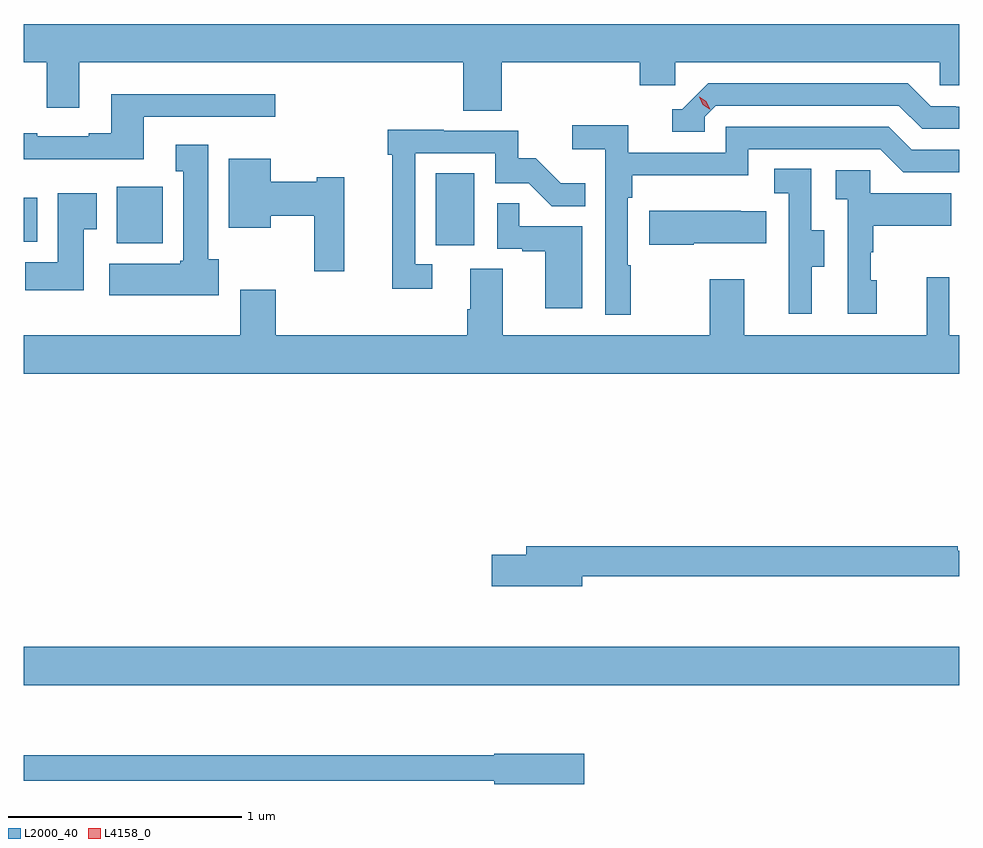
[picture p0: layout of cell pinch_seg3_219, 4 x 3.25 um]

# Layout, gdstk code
import gdstk
lib = gdstk.Library(unit=1e-6, precision=1e-09)
def R(c, l, rs):  # rectangles x0, y0, x1, y1
    for r in rs: c.add(gdstk.rectangle(r[:2], r[2:], *l))
def P(c, l, *ps):  # polygons
    for p in ps: c.add(gdstk.Polygon(p, *l))
L2000_40 = (2000, 40)
L4158_0 = (4158, 0)

pinch_seg3_219 = lib.new_cell('pinch_seg3_219')
R(pinch_seg3_219, L2000_40, [(933.676,732.884,937.676,733.048), (935.438,734.766,935.602,735.073), (934.073,734.774,934.27,735.016), (933.676,734.78,933.733,734.968)])
P(pinch_seg3_219, L2000_40, [(935.72,735.548),(936.311,735.548),(936.311,735.45),(936.462,735.45),(936.462,735.548),(937.593,735.548),(937.593,735.45),(937.676,735.45),(937.676,735.712),(933.676,735.712),(933.676,735.548),(933.773,735.548),(933.773,735.354),(933.913,735.354),(933.913,735.548),(935.555,735.548),(935.555,735.34),(935.72,735.34)],
  [(936.588,735.315),(936.636,735.363),(937.419,735.363),(937.518,735.264),(937.676,735.264),(937.676,735.357),(937.662,735.357),(937.662,735.36),(937.555,735.36),(937.456,735.459),(936.603,735.459),(936.492,735.348),(936.449,735.348),(936.449,735.252),(936.588,735.252)],
  [(934.189,735.315),(934.75,735.315),(934.75,735.412),(934.049,735.412),(934.049,735.244),(933.953,735.244),(933.953,735.231),(933.733,735.231),(933.733,735.244),(933.676,735.244),(933.676,735.134),(934.189,735.134)],
  [(936.271,734.681),(936.258,734.681),(936.258,734.969),(936.278,734.969),(936.278,735.065),(936.774,735.065),(936.774,735.177),(937.338,735.177),(937.437,735.078),(937.676,735.078),(937.676,735.174),(937.474,735.174),(937.375,735.273),(936.678,735.273),(936.678,735.162),(936.26,735.162),(936.26,735.278),(936.021,735.278),(936.021,735.176),(936.162,735.176),(936.162,734.469),(936.271,734.469)],
  [(935.422,734.685),(935.349,734.685),(935.349,735.159),(935.691,735.159),(935.691,735.03),(935.835,735.03),(935.933,734.932),(936.077,734.932),(936.077,735.031),(935.973,735.031),(935.866,735.138),(935.79,735.138),(935.79,735.255),(935.471,735.255),(935.471,735.26),(935.233,735.26),(935.233,735.152),(935.252,735.152),(935.252,734.58),(935.422,734.58)],
  [(934.51,734.706),(934.465,734.706),(934.465,735.196),(934.325,735.196),(934.325,735.083),(934.358,735.083),(934.358,734.7),(934.345,734.7),(934.345,734.686),(934.041,734.686),(934.041,734.552),(934.51,734.552)],
  [(935.047,735.056),(934.929,735.056),(934.929,735.038),(934.732,735.038),(934.732,735.136),(934.553,735.136),(934.553,734.84),(934.732,734.84),(934.732,734.891),(934.918,734.891),(934.918,734.655),(935.047,734.655)],
  [(937.045,734.674),(937.099,734.674),(937.099,734.829),(937.044,734.829),(937.044,735.092),(936.885,735.092),(936.885,734.989),(936.948,734.989),(936.948,734.685),(936.947,734.685),(936.947,734.472),(937.045,734.472)],
  [(937.324,734.616),(937.299,734.616),(937.299,734.735),(937.309,734.735),(937.309,734.849),(937.643,734.849),(937.643,734.989),(937.296,734.989),(937.296,735.087),(937.149,735.087),(937.149,734.963),(937.2,734.963),(937.2,734.472),(937.324,734.472)],
  [(933.931,734.833),(933.988,734.833),(933.988,734.989),(933.821,734.989),(933.821,734.692),(933.682,734.692),(933.682,734.574),(933.931,734.574)],
  [(936.064,734.847),(935.795,734.847),(935.795,734.945),(935.7,734.945),(935.7,734.751),(935.807,734.751),(935.807,734.739),(935.906,734.739),(935.906,734.496),(936.064,734.496)],
  [(936.541,734.774),(936.851,734.774),(936.851,734.911),(936.743,734.911),(936.743,734.914),(936.35,734.914),(936.35,734.767),(936.541,734.767)],
  [(934.601,734.575),(934.601,734.38),(933.676,734.38),(933.676,734.216),(937.676,734.216),(937.676,734.38),(937.635,734.38),(937.635,734.629),(937.538,734.629),(937.538,734.38),(936.757,734.38),(936.757,734.62),(936.61,734.62),(936.61,734.38),(935.725,734.38),(935.725,734.666),(935.585,734.666),(935.585,734.492),(935.573,734.492),(935.573,734.38),(934.754,734.38),(934.754,734.575)],
  [(936.064,733.35),(937.676,733.35),(937.676,733.459),(937.671,733.459),(937.671,733.478),(935.825,733.478),(935.825,733.442),(935.676,733.442),(935.676,733.307),(936.064,733.307)],
  [(936.073,732.591),(935.688,732.591),(935.688,732.583),(933.676,732.583),(933.676,732.474),(935.688,732.474),(935.688,732.461),(936.073,732.461)])
P(pinch_seg3_219, L4158_0, [(936.61,735.348),(936.58,735.367),(936.564,735.4),(936.564,735.4),(936.564,735.4),(936.595,735.381),(936.611,735.348),(936.611,735.348)])

lib.write_gds('pinch_seg3_219.gds')
